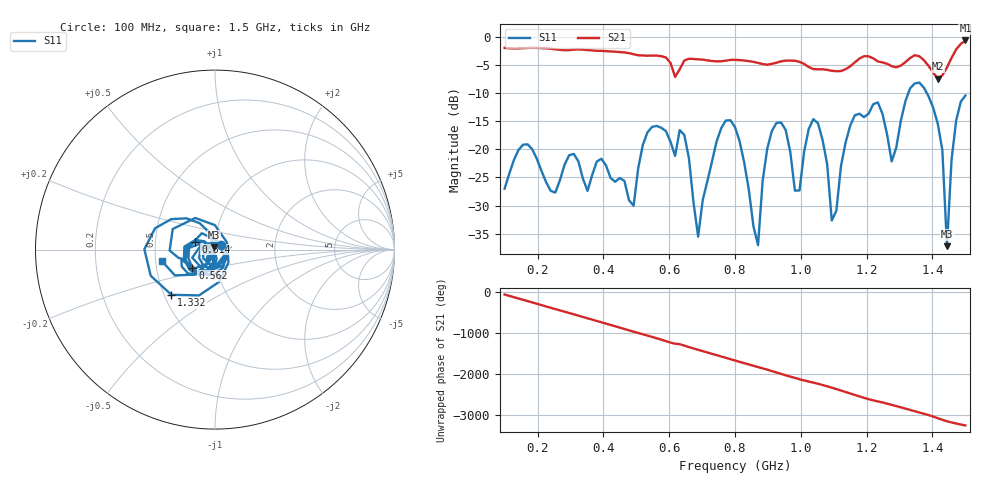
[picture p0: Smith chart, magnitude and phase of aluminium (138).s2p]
! NanoVNA-App
! Date: 2025-09-25 14:56:21
! Start: 100MHz Stop: 1,5GHz Points: 101
! S-Parameter data: F S11 S21 S12 S22
# Hz S RI R 50
!  Frequency  S11_Real  S11_Imag  S21_Real  S21_Imag  S12_Real  S12_Imag  S22_Real  S22_Imag
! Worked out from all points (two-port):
!   101 points, 100 MHz to 1.5 GHz, reference 50 ohm
!   highest |S21| = -0.59 dB at 1.5 GHz (marker M1); lowest = -7.4 dB at 1.416 GHz (marker M2)
!   |S21| within 3 dB of the highest: start of sweep to 588.4 MHz; 1.459 GHz to end of sweep (the widest 2 of 4)
!   lowest |S11| = -37.2 dB at 1.444 GHz (marker M3), VSWR 1.03, Z = 49.3 + j1.18 ohm
!   |S11| at or under -10 dB: start of sweep to 1.327 GHz; 1.383 GHz to end of sweep
!   S12 and S22 are empty: the file has one direction only
!   S11 on the Smith chart (normalised r, x): 100 MHz: 1.07, +0.06; 562 MHz: 0.76, -0.16; 814 MHz: 0.80, +0.07; 1.332 GHz: 0.55, -0.31; 1.5 GHz: 0.54, -0.08
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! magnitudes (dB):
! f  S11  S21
! 100 MHz  -27.0  -1.9
! 338 MHz  -25.2  -2.2
! 492 MHz  -30.0  -3.0
! 562 MHz  -15.8  -3.3
! 576 MHz  -16.1  -3.4
! 646 MHz  -17.4  -4.2
! 688 MHz  -35.6  -4.0
! 800 MHz  -16.0  -4.0
! 814 MHz  -18.6  -4.1
! 870 MHz  -37.1  -4.6
! 912 MHz  -16.7  -4.7
! 996 MHz  -27.3  -4.4
! 1.038 GHz  -14.6  -5.7
! 1.094 GHz  -32.7  -6.0
! 1.164 GHz  -13.9  -4.5
! 1.234 GHz  -11.6  -4.3
! 1.276 GHz  -22.1  -5.2
! 1.332 GHz  -9.1  -3.7
! 1.416 GHz  -15.4  -7.4
! 1.444 GHz  -37.2  -5.4
! 1.472 GHz  -14.8  -2.2
! 1.5 GHz  -10.4  -0.6
